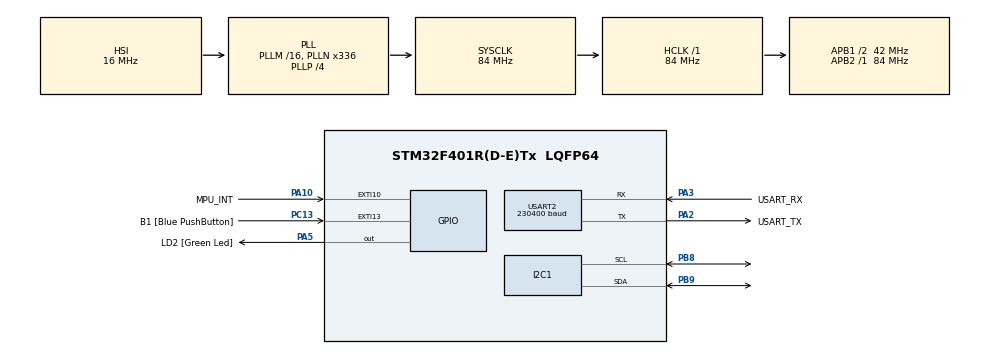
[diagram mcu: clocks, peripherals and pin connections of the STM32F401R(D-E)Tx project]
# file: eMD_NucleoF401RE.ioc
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Dma.Request0=USART2_RX
Dma.Request1=USART2_TX
Dma.USART2_RX.0.Direction=DMA_PERIPH_TO_MEMORY
Dma.USART2_RX.0.FIFOMode=DMA_FIFOMODE_DISABLE
Dma.USART2_RX.0.Instance=DMA1_Stream5
Dma.USART2_RX.0.MemDataAlignment=DMA_MDATAALIGN_BYTE
Dma.USART2_RX.0.MemInc=DMA_MINC_ENABLE
Dma.USART2_RX.0.Mode=DMA_NORMAL
Dma.USART2_RX.0.PeriphDataAlignment=DMA_PDATAALIGN_BYTE
Dma.USART2_RX.0.PeriphInc=DMA_PINC_DISABLE
Dma.USART2_RX.0.Priority=DMA_PRIORITY_LOW
Dma.USART2_TX.1.Direction=DMA_MEMORY_TO_PERIPH
Dma.USART2_TX.1.FIFOMode=DMA_FIFOMODE_DISABLE
Dma.USART2_TX.1.Instance=DMA1_Stream6
Dma.USART2_TX.1.MemDataAlignment=DMA_MDATAALIGN_BYTE
Dma.USART2_TX.1.MemInc=DMA_MINC_ENABLE
Dma.USART2_TX.1.Mode=DMA_NORMAL
Dma.USART2_TX.1.PeriphDataAlignment=DMA_PDATAALIGN_BYTE
Dma.USART2_TX.1.PeriphInc=DMA_PINC_DISABLE
Dma.USART2_TX.1.Priority=DMA_PRIORITY_LOW
I2C1.I2C_Mode=I2C_Fast
Mcu.Family=STM32F4
Mcu.Name=STM32F401R(D-E)Tx
Mcu.Package=LQFP64
NVIC.DMA1_Stream5_IRQn=true\:0\:0\:false\:false\:true\:false
NVIC.DMA1_Stream6_IRQn=true\:0\:0\:false\:false\:true\:false
NVIC.EXTI15_10_IRQn=true\:0\:0\:false\:false\:true\:true
NVIC.PriorityGroup=NVIC_PRIORITYGROUP_0
NVIC.USART2_IRQn=true\:0\:1\:true\:false\:true\:true
PA10.GPIO_Label=MPU_INT
PA10.GPIO_PuPd=GPIO_PULLDOWN
PA10.Signal=GPXTI10
PA13.GPIO_Label=TMS
PA13.Mode=Serial_Wire
PA13.Signal=SYS_JTMS-SWDIO
PA14.GPIO_Label=TCK
PA14.Mode=Serial_Wire
PA14.Signal=SYS_JTCK-SWCLK
PA2.GPIO_Label=USART_TX
PA2.GPIO_Mode=GPIO_MODE_AF_PP
PA2.GPIO_PuPd=GPIO_NOPULL
PA2.GPIO_Speed=GPIO_SPEED_FREQ_LOW
PA2.Mode=Asynchronous
PA2.Signal=USART2_TX
PA3.GPIO_Label=USART_RX
PA3.GPIO_Mode=GPIO_MODE_AF_PP
PA3.GPIO_PuPd=GPIO_NOPULL
PA3.GPIO_Speed=GPIO_SPEED_FREQ_LOW
PA3.Mode=Asynchronous
PA3.Signal=USART2_RX
PA5.GPIO_Label=LD2 [Green Led]
PA5.GPIO_Mode=GPIO_MODE_OUTPUT_PP
PA5.GPIO_PuPd=GPIO_NOPULL
PA5.GPIO_Speed=GPIO_SPEED_FREQ_LOW
PA5.Signal=GPIO_Output
PB3.GPIO_Label=SWO
PB3.Signal=SYS_JTDO-SWO
PB8.Mode=I2C
PB8.Signal=I2C1_SCL
PB9.Mode=I2C
PB9.Signal=I2C1_SDA
PC13-ANTI_TAMP.GPIO_Label=B1 [Blue PushButton]
PC13-ANTI_TAMP.GPIO_ModeDefaultEXTI=GPIO_MODE_IT_FALLING
PC13-ANTI_TAMP.GPIO_PuPd=GPIO_NOPULL
PC13-ANTI_TAMP.Signal=GPXTI13
PC14-OSC32_IN.Signal=RCC_OSC32_IN
PC15-OSC32_OUT.Signal=RCC_OSC32_OUT
PH0\ -\ OSC_IN.Signal=RCC_OSC_IN
PH1\ -\ OSC_OUT.Signal=RCC_OSC_OUT
ProjectManager.HeapSize=0x200
ProjectManager.StackSize=0x400
ProjectManager.TargetToolchain=Makefile
RCC.AHBFreq_Value=84000000
RCC.APB1CLKDivider=RCC_HCLK_DIV2
RCC.APB1Freq_Value=42000000
RCC.APB1TimFreq_Value=84000000
RCC.APB2Freq_Value=84000000
RCC.APB2TimFreq_Value=84000000
RCC.CortexFreq_Value=84000000
RCC.HCLKFreq_Value=84000000
RCC.HSE_VALUE=8000000
RCC.HSI_VALUE=16000000
RCC.LSE_VALUE=32768
RCC.PLLN=336
RCC.PLLP=RCC_PLLP_DIV4
RCC.PLLQ=7
RCC.SYSCLKFreq_VALUE=84000000
RCC.SYSCLKSource=RCC_SYSCLKSOURCE_PLLCLK
RCC.VCOOutputFreq_Value=336000000
USART2.BaudRate=230400
USART2.VirtualMode=VM_ASYNC
board=NUCLEO-F401RE

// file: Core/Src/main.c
/**
  ******************************************************************************
  * @file           : main.c
  * @brief          : Main program body
  ******************************************************************************
  ** This notice applies to any and all portions of this file
  * that are not between comment pairs USER CODE BEGIN and
  * USER CODE END. Other portions of this file, whether
  * inserted by the user or by software development tools
  * are owned by their respective copyright owners.
  *
  * COPYRIGHT(c) 2018 STMicroelectronics
  *
  * Redistribution and use in source and binary forms, with or without modification,
  * are permitted provided that the following conditions are met:
  *   1. Redistributions of source code must retain the above copyright notice,
  *      this list of conditions and the following disclaimer.
  *   2. Redistributions in binary form must reproduce the above copyright notice,
  *      this list of conditions and the following disclaimer in the documentation
  *      and/or other materials provided with the distribution.
  *   3. Neither the name of STMicroelectronics nor the names of its contributors
  *      may be used to endorse or promote products derived from this software
  *      without specific prior written permission.
  *
  * THIS SOFTWARE IS PROVIDED BY THE COPYRIGHT HOLDERS AND CONTRIBUTORS "AS IS"
  * AND ANY EXPRESS OR IMPLIED WARRANTIES, INCLUDING, BUT NOT LIMITED TO, THE
  * IMPLIED WARRANTIES OF MERCHANTABILITY AND FITNESS FOR A PARTICULAR PURPOSE ARE
  * DISCLAIMED. IN NO EVENT SHALL THE COPYRIGHT HOLDER OR CONTRIBUTORS BE LIABLE
  * FOR ANY DIRECT, INDIRECT, INCIDENTAL, SPECIAL, EXEMPLARY, OR CONSEQUENTIAL
  * DAMAGES (INCLUDING, BUT NOT LIMITED TO, PROCUREMENT OF SUBSTITUTE GOODS OR
  * SERVICES; LOSS OF USE, DATA, OR PROFITS; OR BUSINESS INTERRUPTION) HOWEVER
  * CAUSED AND ON ANY THEORY OF LIABILITY, WHETHER IN CONTRACT, STRICT LIABILITY,
  * OR TORT (INCLUDING NEGLIGENCE OR OTHERWISE) ARISING IN ANY WAY OUT OF THE USE
  * OF THIS SOFTWARE, EVEN IF ADVISED OF THE POSSIBILITY OF SUCH DAMAGE.
  *
  ******************************************************************************
  */
#include "main.h"
#include "stm32f4xx_hal.h"
#include "dma.h"
#include "i2c.h"
#include "usart.h"
#include "gpio.h"

/* USER CODE BEGIN Includes */
#include "uart_util_hal.h"
#include "inv_mpu.h"
#include "inv_mpu_dmp_motion_driver.h"
#include "invensense.h"
#include "invensense_adv.h"
#include "eMPL_outputs.h"
#include "mltypes.h"
#include "mpu.h"
#include "log.h"
#include "packet.h"
#include "arm_math.h"
/* USER CODE END Includes */

/* USER CODE BEGIN PV */
/* Private variables ---------------------------------------------------------*/
// -----eMD----- //
/* Data read from MPL. */
#define PRINT_ACCEL     (0x01)
#define PRINT_GYRO      (0x02)
#define PRINT_QUAT      (0x04)
#define PRINT_COMPASS   (0x08)
#define PRINT_EULER     (0x10)
#define PRINT_ROT_MAT   (0x20)
#define PRINT_HEADING   (0x40)
#define PRINT_PEDO      (0x80)
#define PRINT_LINEAR_ACCEL (0x100)
#define PRINT_GRAVITY_VECTOR (0x200)

volatile uint32_t hal_timestamp = 0;
#define ACCEL_ON        (0x01)
#define GYRO_ON         (0x02)
#define COMPASS_ON      (0x04)

#define MOTION          (0)
#define NO_MOTION       (1)

/* Starting sampling rate. */
#define DEFAULT_MPU_HZ  (20)

#define FLASH_SIZE      (512)
#define FLASH_MEM_START ((void*)0x1800)

#define PEDO_READ_MS    (1000)
#define TEMP_READ_MS    (500)
#define COMPASS_READ_MS (100)
struct rx_s {
    unsigned char header[3];
    unsigned char cmd;
};
struct hal_s {
    unsigned char lp_accel_mode;
    unsigned char sensors;
    unsigned char dmp_on;
    unsigned char wait_for_tap;
    volatile unsigned char new_gyro;
    unsigned char motion_int_mode;
    unsigned long no_dmp_hz;
    unsigned long next_pedo_ms;
    unsigned long next_temp_ms;
    unsigned long next_compass_ms;
    unsigned int report;
    unsigned short dmp_features;
    struct rx_s rx;
};
static struct hal_s hal = {0};

/* USB RX binary semaphore. Actually, it's just a flag. Not included in struct
 * because it's declared extern elsewhere.
 */
volatile unsigned char rx_new;

unsigned char *mpl_key = (unsigned char*)"eMPL 6.12";

/* Platform-specific information. Kinda like a boardfile. */
struct platform_data_s {
    signed char orientation[9];
};

/* The sensors can be mounted onto the board in any orientation. The mounting
 * matrix seen below tells the MPL how to rotate the raw data from the
 * driver(s).
 * TODO: The following matrices refer to the configuration on internal test
 * boards at Invensense. If needed, please modify the matrices to match the
 * chip-to-body matrix for your particular set up.
 */
static struct platform_data_s gyro_pdata = {
    .orientation = { 1, 0, 0,
                     0, 1, 0,
                     0, 0, 1}
};

#if defined MPU9150 || defined MPU9250
static struct platform_data_s compass_pdata = {
    .orientation = { 0, 1, 0,
                     1, 0, 0,
                     0, 0, -1}
};
#define COMPASS_ENABLED 1
#elif defined AK8975_SECONDARY
static struct platform_data_s compass_pdata = {
    .orientation = {-1, 0, 0,
                     0, 1, 0,
                     0, 0,-1}
};
#define COMPASS_ENABLED 1
#elif defined AK8963_SECONDARY
static struct platform_data_s compass_pdata = {
    .orientation = {-1, 0, 0,
                     0,-1, 0,
                     0, 0, 1}
};
#define COMPASS_ENABLED 1
#endif
/* USER CODE END PV */

void SystemClock_Config(void);

/* USER CODE BEGIN PFP */
/* Private function prototypes -----------------------------------------------*/
/* Get data from MPL.
 * TODO: Add return values to the inv_get_sensor_type_xxx APIs to differentiate
 * between new and stale data.
 */
static void read_from_mpl(void)
{
    long msg, data[9];
    int8_t accuracy;
    unsigned long timestamp;
    float float_data[3] = {0};

    if (inv_get_sensor_type_quat(data, &accuracy, (inv_time_t*)&timestamp)) {
       /* Sends a quaternion packet to the PC. Since this is used by the Python
        * test app to visually represent a 3D quaternion, it's sent each time
        * the MPL has new data.
        */
        eMPL_send_quat(data);

        /* Specific data packets can be sent or suppressed using USB commands. */
        if (hal.report & PRINT_QUAT)
            eMPL_send_data(PACKET_DATA_QUAT, data);
    }

    if (hal.report & PRINT_ACCEL) {
        if (inv_get_sensor_type_accel(data, &accuracy,
            (inv_time_t*)&timestamp))
            eMPL_send_data(PACKET_DATA_ACCEL, data);
    }
    if (hal.report & PRINT_GYRO) {
        if (inv_get_sensor_type_gyro(data, &accuracy,
            (inv_time_t*)&timestamp))
            eMPL_send_data(PACKET_DATA_GYRO, data);
    }
#ifdef COMPASS_ENABLED
    if (hal.report & PRINT_COMPASS) {
        if (inv_get_sensor_type_compass(data, &accuracy,
            (inv_time_t*)&timestamp))
            eMPL_send_data(PACKET_DATA_COMPASS, data);
    }
#endif
    if (hal.report & PRINT_EULER) {
        if (inv_get_sensor_type_euler(data, &accuracy,
            (inv_time_t*)&timestamp))
            eMPL_send_data(PACKET_DATA_EULER, data);
    }
    if (hal.report & PRINT_ROT_MAT) {
        if (inv_get_sensor_type_rot_mat(data, &accuracy,
            (inv_time_t*)&timestamp))
            eMPL_send_data(PACKET_DATA_ROT, data);
    }
    if (hal.report & PRINT_HEADING) {
        if (inv_get_sensor_type_heading(data, &accuracy,
            (inv_time_t*)&timestamp))
            eMPL_send_data(PACKET_DATA_HEADING, data);
    }
    if (hal.report & PRINT_LINEAR_ACCEL) {
        if (inv_get_sensor_type_linear_acceleration(float_data, &accuracy, (inv_time_t*)&timestamp)) {
            MPL_LOGI("Linear Accel: %7.5f %7.5f %7.5f\r\n",
                    float_data[0], float_data[1], float_data[2]);
         }
    }
    if (hal.report & PRINT_GRAVITY_VECTOR) {
            if (inv_get_sensor_type_gravity(float_data, &accuracy,
                (inv_time_t*)&timestamp))
                MPL_LOGI("Gravity Vector: %7.5f %7.5f %7.5f\r\n",
                        float_data[0], float_data[1], float_data[2]);
    }
    if (hal.report & PRINT_PEDO) {
        unsigned long timestamp;
        //get_tick_count(&timestamp);
        timestamp = HAL_GetTick();
        if (timestamp > hal.next_pedo_ms) {
            hal.next_pedo_ms = timestamp + PEDO_READ_MS;
            unsigned long step_count, walk_time;
            dmp_get_pedometer_step_count(&step_count);
            dmp_get_pedometer_walk_time(&walk_time);
            MPL_LOGI("Walked %ld steps over %ld milliseconds..\n", step_count,
            walk_time);
        }
    }

    /* Whenever the MPL detects a change in motion state, the application can
     * be notified. For this example, we use an LED to represent the current
     * motion state.
     */
    msg = inv_get_message_level_0(INV_MSG_MOTION_EVENT |
            INV_MSG_NO_MOTION_EVENT);
    if (msg) {
        if (msg & INV_MSG_MOTION_EVENT) {
            MPL_LOGI("Motion!\n");
        } else if (msg & INV_MSG_NO_MOTION_EVENT) {
            MPL_LOGI("No motion!\n");
        }
    }
}

#ifdef COMPASS_ENABLED
void send_status_compass() {
    long data[3] = { 0 };
    int8_t accuracy = { 0 };
    unsigned long timestamp;
    inv_get_compass_set(data, &accuracy, (inv_time_t*) &timestamp);
    MPL_LOGI("Compass: %7.4f %7.4f %7.4f ",
            data[0]/65536.f, data[1]/65536.f, data[2]/65536.f);
    MPL_LOGI("Accuracy= %d\r\n", accuracy);

}
#endif

/* Handle sensor on/off combinations. */
static void setup_gyro(void)
{
    unsigned char mask = 0, lp_accel_was_on = 0;
    if (hal.sensors & ACCEL_ON)
        mask |= INV_XYZ_ACCEL;
    if (hal.sensors & GYRO_ON) {
        mask |= INV_XYZ_GYRO;
        lp_accel_was_on |= hal.lp_accel_mode;
    }
#ifdef COMPASS_ENABLED
    if (hal.sensors & COMPASS_ON) {
        mask |= INV_XYZ_COMPASS;
        lp_accel_was_on |= hal.lp_accel_mode;
    }
#endif
    /* If you need a power transition, this function should be called with a
     * mask of the sensors still enabled. The driver turns off any sensors
     * excluded from this mask.
     */
    mpu_set_sensors(mask);
    mpu_configure_fifo(mask);
    if (lp_accel_was_on) {
        unsigned short rate;
        hal.lp_accel_mode = 0;
        /* Switching out of LP accel, notify MPL of new accel sampling rate. */
        mpu_get_sample_rate(&rate);
        inv_set_accel_sample_rate(1000000L / rate);
    }
}

static void tap_cb(unsigned char direction, unsigned char count)
{
    switch (direction) {
    case TAP_X_UP:
        MPL_LOGI("Tap X+ ");
        break;
    case TAP_X_DOWN:
        MPL_LOGI("Tap X- ");
        break;
    case TAP_Y_UP:
        MPL_LOGI("Tap Y+ ");
        break;
    case TAP_Y_DOWN:
        MPL_LOGI("Tap Y- ");
        break;
    case TAP_Z_UP:
        MPL_LOGI("Tap Z+ ");
        break;
    case TAP_Z_DOWN:
        MPL_LOGI("Tap Z- ");
        break;
    default:
        return;
    }
    MPL_LOGI("x%d\n", count);
    return;
}

static void android_orient_cb(unsigned char orientation)
{
    switch (orientation) {
    case ANDROID_ORIENT_PORTRAIT:
        MPL_LOGI("Portrait\n");
        break;
    case ANDROID_ORIENT_LANDSCAPE:
        MPL_LOGI("Landscape\n");
        break;
    case ANDROID_ORIENT_REVERSE_PORTRAIT:
        MPL_LOGI("Reverse Portrait\n");
        break;
    case ANDROID_ORIENT_REVERSE_LANDSCAPE:
        MPL_LOGI("Reverse Landscape\n");
        break;
    default:
        return;
    }
}

static inline void run_self_test(void)
{
    int result;
    long gyro[3], accel[3];

#if defined (MPU6500) || defined (MPU9250)
    result = mpu_run_6500_self_test(gyro, accel, 0);
#elif defined (MPU6050) || defined (MPU9150)
    result = mpu_run_self_test(gyro, accel);
#endif
    if (result == 0x7) {
    MPL_LOGI("Passed!\n");
        MPL_LOGI("accel: %7.4f %7.4f %7.4f\n",
                    accel[0]/65536.f,
                    accel[1]/65536.f,
                    accel[2]/65536.f);
        MPL_LOGI("gyro: %7.4f %7.4f %7.4f\n",
                    gyro[0]/65536.f,
                    gyro[1]/65536.f,
                    gyro[2]/65536.f);
        /* Test passed. We can trust the gyro data here, so now we need to update calibrated data*/

#ifdef USE_CAL_HW_REGISTERS
        /*
         * This portion of the code uses the HW offset registers that are in the MPUxxxx devices
         * instead of pushing the cal data to the MPL software library
         */
        unsigned char i = 0;

        for(i = 0; i<3; i++) {
            gyro[i] = (long)(gyro[i] * 32.8f); //convert to +-1000dps
            accel[i] *= 2048.f; //convert to +-16G
            accel[i] = accel[i] >> 16;
            gyro[i] = (long)(gyro[i] >> 16);
        }

        mpu_set_gyro_bias_reg(gyro);

#if defined (MPU6500) || defined (MPU9250)
        mpu_set_accel_bias_6500_reg(accel);
#elif defined (MPU6050) || defined (MPU9150)
        mpu_set_accel_bias_6050_reg(accel);
#endif
#else
        /* Push the calibrated data to the MPL library.
         *
         * MPL expects biases in hardware units << 16, but self test returns
         * biases in g's << 16.
         */
        unsigned short accel_sens;
        float gyro_sens;

        mpu_get_accel_sens(&accel_sens);
        accel[0] *= accel_sens;
        accel[1] *= accel_sens;
        accel[2] *= accel_sens;
        inv_set_accel_bias(accel, 3);
        mpu_get_gyro_sens(&gyro_sens);
        gyro[0] = (long) (gyro[0] * gyro_sens);
        gyro[1] = (long) (gyro[1] * gyro_sens);
        gyro[2] = (long) (gyro[2] * gyro_sens);
        inv_set_gyro_bias(gyro, 3);
#endif
    }
    else {
            if (!(result & 0x1))
                MPL_LOGE("Gyro failed.\n");
            if (!(result & 0x2))
                MPL_LOGE("Accel failed.\n");
            if (!(result & 0x4))
                MPL_LOGE("Compass failed.\n");
     }

}

static void handle_input(void)
{

    char c = getch();

    switch (c) {
    /* These commands turn off individual sensors. */
    case '8':
        hal.sensors ^= ACCEL_ON;
        setup_gyro();
        if (!(hal.sensors & ACCEL_ON))
            inv_accel_was_turned_off();
        break;
    case '9':
        hal.sensors ^= GYRO_ON;
        setup_gyro();
        if (!(hal.sensors & GYRO_ON))
            inv_gyro_was_turned_off();
        break;
#ifdef COMPASS_ENABLED
    case '0':
        hal.sensors ^= COMPASS_ON;
        setup_gyro();
        if (!(hal.sensors & COMPASS_ON))
            inv_compass_was_turned_off();
        break;
#endif
    /* The commands send individual sensor data or fused data to the PC. */
    case 'a':
        hal.report ^= PRINT_ACCEL;
        break;
    case 'g':
        hal.report ^= PRINT_GYRO;
        break;
#ifdef COMPASS_ENABLED
    case 'c':
        hal.report ^= PRINT_COMPASS;
        break;
#endif
    case 'e':
        hal.report ^= PRINT_EULER;
        break;
    case 'r':
        hal.report ^= PRINT_ROT_MAT;
        break;
    case 'q':
        hal.report ^= PRINT_QUAT;
        break;
    case 'h':
        hal.report ^= PRINT_HEADING;
        break;
    case 'i':
        hal.report ^= PRINT_LINEAR_ACCEL;
        break;
    case 'o':
        hal.report ^= PRINT_GRAVITY_VECTOR;
        break;
#ifdef COMPASS_ENABLED
    case 'w':
        send_status_compass();
        break;
#endif
    /* This command prints out the value of each gyro register for debugging.
     * If logging is disabled, this function has no effect.
     */
    case 'd':
        mpu_reg_dump();
        break;
    /* Test out low-power accel mode. */
    case 'p':
        if (hal.dmp_on)
            /* LP accel is not compatible with the DMP. */
            break;
        mpu_lp_accel_mode(20);
        /* When LP accel mode is enabled, the driver automatically configures
         * the hardware for latched interrupts. However, the MCU sometimes
         * misses the rising/falling edge, and the hal.new_gyro flag is never
         * set. To avoid getting locked in this state, we're overriding the
         * driver's configuration and sticking to unlatched interrupt mode.
         *
         * TODO: The MCU supports level-triggered interrupts.
         */
        mpu_set_int_latched(0);
        hal.sensors &= ~(GYRO_ON|COMPASS_ON);
        hal.sensors |= ACCEL_ON;
        hal.lp_accel_mode = 1;
        inv_gyro_was_turned_off();
        inv_compass_was_turned_off();
        break;
    /* The hardware self test can be run without any interaction with the
     * MPL since it's completely localized in the gyro driver. Logging is
     * assumed to be enabled; otherwise, a couple LEDs could probably be used
     * here to display the test results.
     */
    case 't':
        run_self_test();
        /* Let MPL know that contiguity was broken. */
        inv_accel_was_turned_off();
        inv_gyro_was_turned_off();
        inv_compass_was_turned_off();
        break;
    /* Depending on your application, sensor data may be needed at a faster or
     * slower rate. These commands can speed up or slow down the rate at which
     * the sensor data is pushed to the MPL.
     *
     * In this example, the compass rate is never changed.
     */
    case '1':
        if (hal.dmp_on) {
            dmp_set_fifo_rate(10);
            inv_set_quat_sample_rate(100000L);
        } else
            mpu_set_sample_rate(10);
        inv_set_gyro_sample_rate(100000L);
        inv_set_accel_sample_rate(100000L);
        break;
    case '2':
        if (hal.dmp_on) {
            dmp_set_fifo_rate(20);
            inv_set_quat_sample_rate(50000L);
        } else
            mpu_set_sample_rate(20);
        inv_set_gyro_sample_rate(50000L);
        inv_set_accel_sample_rate(50000L);
        break;
    case '3':
        if (hal.dmp_on) {
            dmp_set_fifo_rate(40);
            inv_set_quat_sample_rate(25000L);
        } else
            mpu_set_sample_rate(40);
        inv_set_gyro_sample_rate(25000L);
        inv_set_accel_sample_rate(25000L);
        break;
    case '4':
        if (hal.dmp_on) {
            dmp_set_fifo_rate(50);
            inv_set_quat_sample_rate(20000L);
        } else
            mpu_set_sample_rate(50);
        inv_set_gyro_sample_rate(20000L);
        inv_set_accel_sample_rate(20000L);
        break;
    case '5':
        if (hal.dmp_on) {
            dmp_set_fifo_rate(100);
            inv_set_quat_sample_rate(10000L);
        } else
            mpu_set_sample_rate(100);
        inv_set_gyro_sample_rate(10000L);
        inv_set_accel_sample_rate(10000L);
        break;
    case ',':
        /* Set hardware to interrupt on gesture event only. This feature is
         * useful for keeping the MCU asleep until the DMP detects as a tap or
         * orientation event.
         */
        dmp_set_interrupt_mode(DMP_INT_GESTURE);
        break;
    case '.':
        /* Set hardware to interrupt periodically. */
        dmp_set_interrupt_mode(DMP_INT_CONTINUOUS);
        break;
    case '6':
        /* Toggle pedometer display. */
        hal.report ^= PRINT_PEDO;
        break;
    case '7':
        /* Reset pedometer. */
        dmp_set_pedometer_step_count(0);
        dmp_set_pedometer_walk_time(0);
        break;
    case 'f':
        if (hal.lp_accel_mode)
            /* LP accel is not compatible with the DMP. */
            return;
        /* Toggle DMP. */
        if (hal.dmp_on) {
            unsigned short dmp_rate;
            unsigned char mask = 0;
            hal.dmp_on = 0;
            mpu_set_dmp_state(0);
            /* Restore FIFO settings. */
            if (hal.sensors & ACCEL_ON)
                mask |= INV_XYZ_ACCEL;
            if (hal.sensors & GYRO_ON)
                mask |= INV_XYZ_GYRO;
            if (hal.sensors & COMPASS_ON)
                mask |= INV_XYZ_COMPASS;
            mpu_configure_fifo(mask);
            /* When the DMP is used, the hardware sampling rate is fixed at
             * 200Hz, and the DMP is configured to downsample the FIFO output
             * using the function dmp_set_fifo_rate. However, when the DMP is
             * turned off, the sampling rate remains at 200Hz. This could be
             * handled in inv_mpu.c, but it would need to know that
             * inv_mpu_dmp_motion_driver.c exists. To avoid this, we'll just
             * put the extra logic in the application layer.
             */
            dmp_get_fifo_rate(&dmp_rate);
            mpu_set_sample_rate(dmp_rate);
            inv_quaternion_sensor_was_turned_off();
            MPL_LOGI("DMP disabled.\n");
        } else {
            unsigned short sample_rate;
            hal.dmp_on = 1;
            /* Preserve current FIFO rate. */
            mpu_get_sample_rate(&sample_rate);
            dmp_set_fifo_rate(sample_rate);
            inv_set_quat_sample_rate(1000000L / sample_rate);
            mpu_set_dmp_state(1);
            MPL_LOGI("DMP enabled.\n");
        }
        break;
    case 'm':
        /* Test the motion interrupt hardware feature. */
    #ifndef MPU6050 // not enabled for 6050 product
    hal.motion_int_mode = 1;
    #endif
        break;

    case 'v':
        /* Toggle LP quaternion.
         * The DMP features can be enabled/disabled at runtime. Use this same
         * approach for other features.
         */
        hal.dmp_features ^= DMP_FEATURE_6X_LP_QUAT;
        dmp_enable_feature(hal.dmp_features);
        if (!(hal.dmp_features & DMP_FEATURE_6X_LP_QUAT)) {
            inv_quaternion_sensor_was_turned_off();
            MPL_LOGI("LP quaternion disabled.\n");
        } else
            MPL_LOGI("LP quaternion enabled.\n");
        break;
    default:
        break;
    }
    hal.rx.cmd = 0;
}

/* Every time new gyro data is available, this function is called in an
 * ISR context. In this example, it sets a flag protecting the FIFO read
 * function.
 */
/*
void gyro_data_ready_cb(void)
{
    hal.new_gyro = 1;
}
*/
/* USER CODE END PFP */

int main(void)
{

  /* MCU Configuration----------------------------------------------------------*/

  /* Reset of all peripherals, Initializes the Flash interface and the Systick. */
  HAL_Init();

  /* Configure the system clock */
  SystemClock_Config();

  /* Initialize all configured peripherals */
  MX_GPIO_Init();
  MX_DMA_Init();
  MX_USART2_UART_Init();
  MX_I2C1_Init();
  /* USER CODE BEGIN 2 */
  UART_Util_Init(&huart2);
  printf("Build: %s %s\r\n",__DATE__,__TIME__);
  /* USER CODE END 2 */

  /* Infinite loop */
  /* USER CODE BEGIN WHILE */

  inv_error_t result;
  unsigned char accel_fsr,  new_temp = 0;
  unsigned short gyro_rate, gyro_fsr;
  unsigned long timestamp;
  struct int_param_s int_param;

#ifdef COMPASS_ENABLED
  unsigned char new_compass = 0;
  unsigned short compass_fsr;
#endif

  result = mpu_init(&int_param);
  if (result){
      MPL_LOGE("Could not initialize gyro.\n");
  }
  /* If you're not using an MPU9150 AND you're not using DMP features, this
    * function will place all slaves on the primary bus.
    * mpu_set_bypass(1);
    */
  result = inv_init_mpl();
  if (result){
      MPL_LOGE("Could not initialize MPL.\n");
  }

  /* Compute 6-axis and 9-axis quaternions. */
  inv_enable_quaternion();
  inv_enable_9x_sensor_fusion();
  /* The MPL expects compass data at a constant rate (matching the rate
    * passed to inv_set_compass_sample_rate). If this is an issue for your
    * application, call this function, and the MPL will depend on the
    * timestamps passed to inv_build_compass instead.
    *
    * inv_9x_fusion_use_timestamps(1);
    */

  /* This function has been deprecated.
    * inv_enable_no_gyro_fusion();
    */

  /* Update gyro biases when not in motion.
    * WARNING: These algorithms are mutually exclusive.
    */
  inv_enable_fast_nomot();
  /* inv_enable_motion_no_motion(); */
  /* inv_set_no_motion_time(1000); */

  /* Update gyro biases when temperature changes. */
  inv_enable_gyro_tc();

  /* This algorithm updates the accel biases when in motion. A more accurate
    * bias measurement can be made when running the self-test (see case 't' in
    * handle_input), but this algorithm can be enabled if the self-test can't
    * be executed in your application.
    *
    * inv_enable_in_use_auto_calibration();
    */
  #ifdef COMPASS_ENABLED
    /* Compass calibration algorithms. */
    inv_enable_vector_compass_cal();
    inv_enable_magnetic_disturbance();
  #endif
  /* If you need to estimate your heading before the compass is calibrated,
    * enable this algorithm. It becomes useless after a good figure-eight is
    * detected, so we'll just leave it out to save memory.
    * inv_enable_heading_from_gyro();
    */

  /* Allows use of the MPL APIs in read_from_mpl. */
    inv_enable_eMPL_outputs();

  result = inv_start_mpl();
  if(result == INV_ERROR_NOT_AUTHORIZED){
    MPL_LOGE("Not authorized.\n");
    Error_Handler();
  }
  if(result){
    MPL_LOGE("Could not start the MPL.\n");
  }

  /* Get/set hardware configuration. Start gyro. */
  /* Wake up all sensors. */
#ifdef COMPASS_ENABLED
  mpu_set_sensors(INV_XYZ_GYRO | INV_XYZ_ACCEL | INV_XYZ_COMPASS);
#else
  mpu_set_sensors(INV_XYZ_GYRO | INV_XYZ_ACCEL);
#endif
  /* Push both gyro and accel data into the FIFO. */
  mpu_configure_fifo(INV_XYZ_GYRO | INV_XYZ_ACCEL);
  mpu_set_sample_rate(DEFAULT_MPU_HZ);
#ifdef COMPASS_ENABLED
  /* The compass sampling rate can be less than the gyro/accel sampling rate.
    * Use this function for proper power management.
    */
  mpu_set_compass_sample_rate(1000 / COMPASS_READ_MS);
#endif
  /* Read back configuration in case it was set improperly. */
  mpu_get_sample_rate(&gyro_rate);
  mpu_get_gyro_fsr(&gyro_fsr);
  mpu_get_accel_fsr(&accel_fsr);
#ifdef COMPASS_ENABLED
  mpu_get_compass_fsr(&compass_fsr);
#endif
  /* Sync driver configuration with MPL. */
  /* Sample rate expected in microseconds. */
  inv_set_gyro_sample_rate(1000000L / gyro_rate);
  inv_set_accel_sample_rate(1000000L / gyro_rate);
#ifdef COMPASS_ENABLED
  /* The compass rate is independent of the gyro and accel rates. As long as
    * inv_set_compass_sample_rate is called with the correct value, the 9-axis
    * fusion algorithm's compass correction gain will work properly.
    */
  inv_set_compass_sample_rate(COMPASS_READ_MS * 1000L);
#endif
  /* Set chip-to-body orientation matrix.
    * Set hardware units to dps/g's/degrees scaling factor.
    */
  inv_set_gyro_orientation_and_scale(
          inv_orientation_matrix_to_scalar(gyro_pdata.orientation),
          (long)gyro_fsr<<15);
  inv_set_accel_orientation_and_scale(
          inv_orientation_matrix_to_scalar(gyro_pdata.orientation),
          (long)accel_fsr<<15);
#ifdef COMPASS_ENABLED
  inv_set_compass_orientation_and_scale(
          inv_orientation_matrix_to_scalar(compass_pdata.orientation),
          (long)compass_fsr<<15);
#endif
  /* Initialize HAL state variables. */
#ifdef COMPASS_ENABLED
  hal.sensors = ACCEL_ON | GYRO_ON | COMPASS_ON;
#else
  hal.sensors = ACCEL_ON | GYRO_ON;
#endif
  hal.dmp_on = 0;
  hal.report = 0;
  hal.rx.cmd = 0;
  hal.next_pedo_ms = 0;
  hal.next_compass_ms = 0;
  hal.next_temp_ms = 0;

/* Compass reads are handled by scheduler. */
//get_tick_count(&timestamp);
timestamp = HAL_GetTick();

  /* To initialize the DMP:
    * 1. Call dmp_load_motion_driver_firmware(). This pushes the DMP image in
    *    inv_mpu_dmp_motion_driver.h into the MPU memory.
    * 2. Push the gyro and accel orientation matrix to the DMP.
    * 3. Register gesture callbacks. Don't worry, these callbacks won't be
    *    executed unless the corresponding feature is enabled.
    * 4. Call dmp_enable_feature(mask) to enable different features.
    * 5. Call dmp_set_fifo_rate(freq) to select a DMP output rate.
    * 6. Call any feature-specific control functions.
    *
    * To enable the DMP, just call mpu_set_dmp_state(1). This function can
    * be called repeatedly to enable and disable the DMP at runtime.
    *
    * The following is a short summary of the features supported in the DMP
    * image provided in inv_mpu_dmp_motion_driver.c:
    * DMP_FEATURE_LP_QUAT: Generate a gyro-only quaternion on the DMP at
    * 200Hz. Integrating the gyro data at higher rates reduces numerical
    * errors (compared to integration on the MCU at a lower sampling rate).
    * DMP_FEATURE_6X_LP_QUAT: Generate a gyro/accel quaternion on the DMP at
    * 200Hz. Cannot be used in combination with DMP_FEATURE_LP_QUAT.
    * DMP_FEATURE_TAP: Detect taps along the X, Y, and Z axes.
    * DMP_FEATURE_ANDROID_ORIENT: Google's screen rotation algorithm. Triggers
    * an event at the four orientations where the screen should rotate.
    * DMP_FEATURE_GYRO_CAL: Calibrates the gyro data after eight seconds of
    * no motion.
    * DMP_FEATURE_SEND_RAW_ACCEL: Add raw accelerometer data to the FIFO.
    * DMP_FEATURE_SEND_RAW_GYRO: Add raw gyro data to the FIFO.
    * DMP_FEATURE_SEND_CAL_GYRO: Add calibrated gyro data to the FIFO. Cannot
    * be used in combination with DMP_FEATURE_SEND_RAW_GYRO.
    */

  dmp_load_motion_driver_firmware();
  dmp_set_orientation(
      inv_orientation_matrix_to_scalar(gyro_pdata.orientation));
  dmp_register_tap_cb(tap_cb);

  dmp_register_android_orient_cb(android_orient_cb);
  /*
    * Known Bug -
    * DMP when enabled will sample sensor data at 200Hz and output to FIFO at the rate
    * specified in the dmp_set_fifo_rate API. The DMP will then sent an interrupt once
    * a sample has been put into the FIFO. Therefore if the dmp_set_fifo_rate is at 25Hz
    * there will be a 25Hz interrupt from the MPU device.
    *
    * There is a known issue in which if you do not enable DMP_FEATURE_TAP
    * then the interrupts will be at 200Hz even if fifo rate
    * is set at a different rate. To avoid this issue include the DMP_FEATURE_TAP
    *
    * DMP sensor fusion works only with gyro at +-2000dps and accel +-2G
    */
    hal.dmp_features = DMP_FEATURE_6X_LP_QUAT | DMP_FEATURE_TAP |
      DMP_FEATURE_ANDROID_ORIENT | DMP_FEATURE_SEND_RAW_ACCEL | DMP_FEATURE_SEND_CAL_GYRO |
      DMP_FEATURE_GYRO_CAL;
    dmp_enable_feature(hal.dmp_features);
    dmp_set_fifo_rate(DEFAULT_MPU_HZ);
    mpu_set_dmp_state(1);
    hal.dmp_on = 1;
  while (1)
  {

  /* USER CODE END WHILE */

  /* USER CODE BEGIN 3 */
  /*
    printf("Hello!\r\n");
    HAL_Delay(500);
    putch('a');
    HAL_Delay(500);
*/
    unsigned long sensor_timestamp;
    int new_data = 0;
/*
    if (USART_GetITStatus(USART2, USART_IT_RXNE)) {
        // A byte has been received via USART. See handle_input for a list of valid commands.
        USART_ClearITPendingBit(USART2, USART_IT_RXNE);
        handle_input();
    }
*/
    handle_input();
    //get_tick_count(&timestamp);
    timestamp = HAL_GetTick();

#ifdef COMPASS_ENABLED
    /* We're not using a data ready interrupt for the compass, so we'll
     * make our compass reads timer-based instead.
     */
    if ((timestamp > hal.next_compass_ms) && !hal.lp_accel_mode &&
        hal.new_gyro && (hal.sensors & COMPASS_ON)) {
        hal.next_compass_ms = timestamp + COMPASS_READ_MS;
        new_compass = 1;
    }
#endif
        /* Temperature data doesn't need to be read with every gyro sample.
        * Let's make them timer-based like the compass reads.
        */
        if (timestamp > hal.next_temp_ms) {
            hal.next_temp_ms = timestamp + TEMP_READ_MS;
            new_temp = 1;
        }

    if (hal.motion_int_mode) {
        /* Enable motion interrupt. */
        mpu_lp_motion_interrupt(500, 1, 5);
        /* Notify the MPL that contiguity was broken. */
        inv_accel_was_turned_off();
        inv_gyro_was_turned_off();
        inv_compass_was_turned_off();
        inv_quaternion_sensor_was_turned_off();
        /* Wait for the MPU interrupt. */
        while (!hal.new_gyro) {}
        /* Restore the previous sensor configuration. */
        mpu_lp_motion_interrupt(0, 0, 0);
        hal.motion_int_mode = 0;
    }

    if (!hal.sensors || !hal.new_gyro) {
        continue;
    }

    if (hal.new_gyro && hal.lp_accel_mode) {
        short accel_short[3];
        long accel[3];
        mpu_get_accel_reg(accel_short, &sensor_timestamp);
        accel[0] = (long)accel_short[0];
        accel[1] = (long)accel_short[1];
        accel[2] = (long)accel_short[2];
        inv_build_accel(accel, 0, sensor_timestamp);
        new_data = 1;
        hal.new_gyro = 0;
    } else if (hal.new_gyro && hal.dmp_on) {
        short gyro[3], accel_short[3], sensors;
        unsigned char more;
        long accel[3], quat[4], temperature;
        /* This function gets new data from the FIFO when the DMP is in
        * use. The FIFO can contain any combination of gyro, accel,
        * quaternion, and gesture data. The sensors parameter tells the
        * caller which data fields were actually populated with new data.
        * For example, if sensors == (INV_XYZ_GYRO | INV_WXYZ_QUAT), then
        * the FIFO isn't being filled with accel data.
        * The driver parses the gesture data to determine if a gesture
        * event has occurred; on an event, the application will be notified
        * via a callback (assuming that a callback function was properly
        * registered). The more parameter is non-zero if there are
        * leftover packets in the FIFO.
        */
        dmp_read_fifo(gyro, accel_short, quat, &sensor_timestamp, &sensors, &more);
        if (!more)
            hal.new_gyro = 0;
        if (sensors & INV_XYZ_GYRO) {
            /* Push the new data to the MPL. */
            inv_build_gyro(gyro, sensor_timestamp);
            new_data = 1;
            if (new_temp) {
                new_temp = 0;
                /* Temperature only used for gyro temp comp. */
                mpu_get_temperature(&temperature, &sensor_timestamp);
                inv_build_temp(temperature, sensor_timestamp);
            }
        }
        if (sensors & INV_XYZ_ACCEL) {
            accel[0] = (long)accel_short[0];
            accel[1] = (long)accel_short[1];
            accel[2] = (long)accel_short[2];
            inv_build_accel(accel, 0, sensor_timestamp);
            new_data = 1;
        }
        if (sensors & INV_WXYZ_QUAT) {
            inv_build_quat(quat, 0, sensor_timestamp);
            new_data = 1;
        }
    } else if (hal.new_gyro) {
        short gyro[3], accel_short[3];
        unsigned char sensors, more;
        long accel[3], temperature;
        /* This function gets new data from the FIFO. The FIFO can contain
        * gyro, accel, both, or neither. The sensors parameter tells the
        * caller which data fields were actually populated with new data.
        * For example, if sensors == INV_XYZ_GYRO, then the FIFO isn't
        * being filled with accel data. The more parameter is non-zero if
        * there are leftover packets in the FIFO. The HAL can use this
        * information to increase the frequency at which this function is
        * called.
        */
        hal.new_gyro = 0;
        mpu_read_fifo(gyro, accel_short, &sensor_timestamp,
            &sensors, &more);
        if (more)
            hal.new_gyro = 1;
        if (sensors & INV_XYZ_GYRO) {
            /* Push the new data to the MPL. */
            inv_build_gyro(gyro, sensor_timestamp);
            new_data = 1;
            if (new_temp) {
                new_temp = 0;
                /* Temperature only used for gyro temp comp. */
                mpu_get_temperature(&temperature, &sensor_timestamp);
                inv_build_temp(temperature, sensor_timestamp);
            }
        }
        if (sensors & INV_XYZ_ACCEL) {
            accel[0] = (long)accel_short[0];
            accel[1] = (long)accel_short[1];
            accel[2] = (long)accel_short[2];
            inv_build_accel(accel, 0, sensor_timestamp);
            new_data = 1;
        }
    }
#ifdef COMPASS_ENABLED
    if (new_compass) {
        short compass_short[3];
        long compass[3];
        new_compass = 0;
        /* For any MPU device with an AKM on the auxiliary I2C bus, the raw
        * magnetometer registers are copied to special gyro registers.
        */
        if (!mpu_get_compass_reg(compass_short, &sensor_timestamp)) {
            compass[0] = (long)compass_short[0];
            compass[1] = (long)compass_short[1];
            compass[2] = (long)compass_short[2];
            /* NOTE: If using a third-party compass calibration library,
            * pass in the compass data in uT * 2^16 and set the second
            * parameter to INV_CALIBRATED | acc, where acc is the
            * accuracy from 0 to 3.
            */
            inv_build_compass(compass, 0, sensor_timestamp);
        }
        new_data = 1;
    }
#endif
    if (new_data) {
        inv_execute_on_data();
        /* This function reads bias-compensated sensor data and sensor
        * fusion outputs from the MPL. The outputs are formatted as seen
        * in eMPL_outputs.c. This function only needs to be called at the
        * rate requested by the host.
        */
        read_from_mpl();
    }

  }
  /* USER CODE END 3 */

}

void SystemClock_Config(void)
{

  RCC_OscInitTypeDef RCC_OscInitStruct;
  RCC_ClkInitTypeDef RCC_ClkInitStruct;

    /**Configure the main internal regulator output voltage
    */
  __HAL_RCC_PWR_CLK_ENABLE();

  __HAL_PWR_VOLTAGESCALING_CONFIG(PWR_REGULATOR_VOLTAGE_SCALE2);

    /**Initializes the CPU, AHB and APB busses clocks
    */
  RCC_OscInitStruct.OscillatorType = RCC_OSCILLATORTYPE_HSI;
  RCC_OscInitStruct.HSIState = RCC_HSI_ON;
  RCC_OscInitStruct.HSICalibrationValue = 16;
  RCC_OscInitStruct.PLL.PLLState = RCC_PLL_ON;
  RCC_OscInitStruct.PLL.PLLSource = RCC_PLLSOURCE_HSI;
  RCC_OscInitStruct.PLL.PLLM = 16;
  RCC_OscInitStruct.PLL.PLLN = 336;
  RCC_OscInitStruct.PLL.PLLP = RCC_PLLP_DIV4;
  RCC_OscInitStruct.PLL.PLLQ = 7;
  if (HAL_RCC_OscConfig(&RCC_OscInitStruct) != HAL_OK)
  {
    _Error_Handler(__FILE__, __LINE__);
  }

    /**Initializes the CPU, AHB and APB busses clocks
    */
  RCC_ClkInitStruct.ClockType = RCC_CLOCKTYPE_HCLK|RCC_CLOCKTYPE_SYSCLK
                              |RCC_CLOCKTYPE_PCLK1|RCC_CLOCKTYPE_PCLK2;
  RCC_ClkInitStruct.SYSCLKSource = RCC_SYSCLKSOURCE_PLLCLK;
  RCC_ClkInitStruct.AHBCLKDivider = RCC_SYSCLK_DIV1;
  RCC_ClkInitStruct.APB1CLKDivider = RCC_HCLK_DIV2;
  RCC_ClkInitStruct.APB2CLKDivider = RCC_HCLK_DIV1;

  if (HAL_RCC_ClockConfig(&RCC_ClkInitStruct, FLASH_LATENCY_2) != HAL_OK)
  {
    _Error_Handler(__FILE__, __LINE__);
  }

    /**Configure the Systick interrupt time
    */
  HAL_SYSTICK_Config(HAL_RCC_GetHCLKFreq()/1000);

    /**Configure the Systick
    */
  HAL_SYSTICK_CLKSourceConfig(SYSTICK_CLKSOURCE_HCLK);

  /* SysTick_IRQn interrupt configuration */
  HAL_NVIC_SetPriority(SysTick_IRQn, 0, 0);
}

/* USER CODE BEGIN 4 */
/**
  * @brief EXTI line detection callbacks
  * @param GPIO_Pin: Specifies the pins connected EXTI line
  * @retval None
  */
void HAL_GPIO_EXTI_Callback(uint16_t GPIO_Pin)
{
    if(GPIO_Pin == B1_Pin){

    }else if(GPIO_Pin == MPU_INT_Pin){
  /* Every time new gyro data is available, this function is called in an
   * ISR context. In this example, it sets a flag protecting the FIFO read
   * function.
   */
    //gyro_data_ready_cb(void)
    hal.new_gyro = 1;
    /* Toggle LED3 */
    HAL_GPIO_TogglePin(LD2_GPIO_Port, LD2_Pin);
  }
}
/* USER CODE END 4 */

void _Error_Handler(char *file, int line)
{
  /* USER CODE BEGIN Error_Handler_Debug */
  /* User can add his own implementation to report the HAL error return state */
  while(1)
  {
    HAL_GPIO_TogglePin(LD2_GPIO_Port, LD2_Pin);
    HAL_Delay(300);
  }
  /* USER CODE END Error_Handler_Debug */
}

/************************ (C) COPYRIGHT STMicroelectronics *****END OF FILE****/
